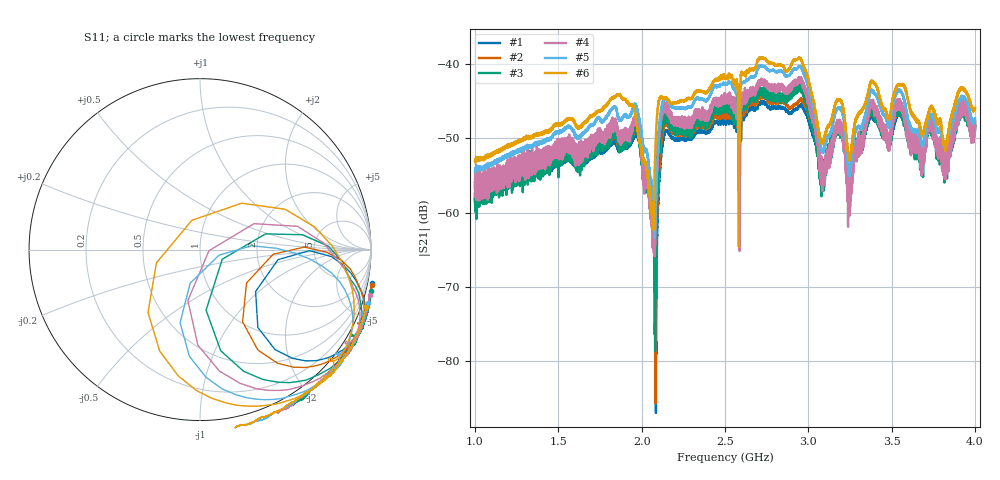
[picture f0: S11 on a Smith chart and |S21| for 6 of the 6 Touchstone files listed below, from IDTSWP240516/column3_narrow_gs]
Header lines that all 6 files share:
!Agilent Technologies,N5230C,SG49000117,A.08.50.07
!Agilent N5230C: A.08.50.07
!Correction: S11(Full 2 Port(1,2))
!S21(Full 2 Port(1,2))
!S12(Full 2 Port(1,2))
!S22(Full 2 Port(1,2))
!S2P File: Measurements: S11, S21, S12, S22:
# Hz S  MA  R 50
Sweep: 1 GHz to 4 GHz
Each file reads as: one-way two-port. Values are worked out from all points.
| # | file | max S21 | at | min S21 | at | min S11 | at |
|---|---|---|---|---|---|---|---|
| 1 | d6.s2p | -44.92 dB | 2.716 GHz | -87.1 dB | 2.086 GHz | -8.1 dB | 2.59 GHz |
| 2 | d7.s2p | -44.18 dB | 2.718 GHz | -85.8 dB | 2.083 GHz | -9.6 dB | 2.59 GHz |
| 3 | d8.s2p | -42.80 dB | 2.957 GHz | -78.7 dB | 2.081 GHz | -17.0 dB | 2.588 GHz |
| 4 | d9.s2p | -41.73 dB | 2.944 GHz | -65.9 dB | 2.078 GHz | -25.6 dB | 2.588 GHz |
| 5 | d11.s2p | -40.15 dB | 2.711 GHz | -63.4 dB | 2.077 GHz | -21.0 dB | 2.583 GHz |
| 6 | d12.s2p | -39.05 dB | 2.712 GHz | -64.6 dB | 2.583 GHz | -15.6 dB | 2.586 GHz |
